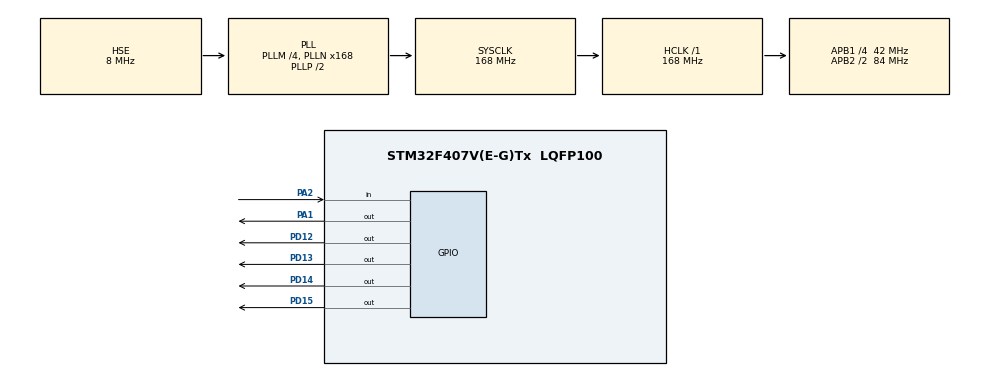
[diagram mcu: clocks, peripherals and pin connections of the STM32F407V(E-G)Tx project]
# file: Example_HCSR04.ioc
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Mcu.Family=STM32F4
Mcu.Name=STM32F407V(E-G)Tx
Mcu.Package=LQFP100
NVIC.PriorityGroup=NVIC_PRIORITYGROUP_0
PA1.Signal=GPIO_Output
PA2.Signal=GPIO_Input
PD12.Signal=GPIO_Output
PD13.Signal=GPIO_Output
PD14.Signal=GPIO_Output
PD15.Signal=GPIO_Output
PH0-OSC_IN.Mode=HSE-External-Oscillator
PH0-OSC_IN.Signal=RCC_OSC_IN
PH1-OSC_OUT.Mode=HSE-External-Oscillator
PH1-OSC_OUT.Signal=RCC_OSC_OUT
ProjectManager.HeapSize=0x200
ProjectManager.StackSize=0x400
ProjectManager.TargetToolchain=STM32CubeIDE
RCC.48MHZClocksFreq_Value=48000000
RCC.AHBFreq_Value=168000000
RCC.APB1CLKDivider=RCC_HCLK_DIV4
RCC.APB1Freq_Value=42000000
RCC.APB1TimFreq_Value=84000000
RCC.APB2CLKDivider=RCC_HCLK_DIV2
RCC.APB2Freq_Value=84000000
RCC.APB2TimFreq_Value=168000000
RCC.CortexFreq_Value=168000000
RCC.HCLKFreq_Value=168000000
RCC.HSE_VALUE=8000000
RCC.HSI_VALUE=16000000
RCC.LSE_VALUE=32768
RCC.PLLM=4
RCC.PLLN=168
RCC.PLLQ=7
RCC.PLLSourceVirtual=RCC_PLLSOURCE_HSE
RCC.SYSCLKFreq_VALUE=168000000
RCC.SYSCLKSource=RCC_SYSCLKSOURCE_PLLCLK
RCC.VCOOutputFreq_Value=336000000
board=STM32F407G-DISC1

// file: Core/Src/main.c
/* USER CODE BEGIN Header */
/**
  ******************************************************************************
  * @file           : main.c
  * @brief          : Main program body
  ******************************************************************************
  * @attention
  *
  * Copyright (c) 2022 STMicroelectronics.
  * All rights reserved.
  *
  * This software is licensed under terms that can be found in the LICENSE file
  * in the root directory of this software component.
  * If no LICENSE file comes with this software, it is provided AS-IS.
  *
  ******************************************************************************
  */
/* USER CODE END Header */
#include "main.h"

/* USER CODE BEGIN Includes */

#include "dwt_stm32_delay.h"

/* USER CODE END Includes */

/* USER CODE BEGIN PV */

uint16_t distance;
uint32_t time;

/* USER CODE END PV */

void SystemClock_Config(void);
static void MX_GPIO_Init(void);

/* USER CODE BEGIN 0 */

uint32_t Read_HCSR04()
{
	uint32_t local_time = 0;

	HAL_GPIO_WritePin(GPIOA, GPIO_PIN_1, GPIO_PIN_SET);
	DWT_Delay_us(10);
	HAL_GPIO_WritePin( GPIOA, GPIO_PIN_1, GPIO_PIN_RESET);

	while(!HAL_GPIO_ReadPin(GPIOA, GPIO_PIN_2));

	while(HAL_GPIO_ReadPin( GPIOA, GPIO_PIN_2))
	{
		local_time++;
		DWT_Delay_us(1);
	}

	return local_time;

}

/* USER CODE END 0 */

int main(void)
{

  /* MCU Configuration--------------------------------------------------------*/

  /* Reset of all peripherals, Initializes the Flash interface and the Systick. */
  HAL_Init();

  /* USER CODE BEGIN Init */

  DWT_Delay_Init();

  /* USER CODE END Init */

  /* Configure the system clock */
  SystemClock_Config();

  /* Initialize all configured peripherals */
  MX_GPIO_Init();

  /* Infinite loop */
  while (1)
  {

    /* USER CODE BEGIN 3 */

	  time = Read_HCSR04();

	  distance = time /58;

	  if(distance>=6 && distance <12)
	  {
		  HAL_GPIO_WritePin(GPIOD, GPIO_PIN_12, GPIO_PIN_SET);
		  HAL_GPIO_WritePin(GPIOD, GPIO_PIN_13 | GPIO_PIN_14 | GPIO_PIN_15, GPIO_PIN_RESET);
	  }

	  else if(distance>=12 && distance <18)
	 {
	 		  HAL_GPIO_WritePin(GPIOD, GPIO_PIN_12 | GPIO_PIN_13, GPIO_PIN_SET);
	 		  HAL_GPIO_WritePin(GPIOD, GPIO_PIN_14 | GPIO_PIN_15, GPIO_PIN_RESET);
	 }

	  else if(distance>=18 && distance <24)
	 {
	 		  HAL_GPIO_WritePin(GPIOD, GPIO_PIN_12 | GPIO_PIN_13 | GPIO_PIN_14, GPIO_PIN_SET);
	 		  HAL_GPIO_WritePin(GPIOD, GPIO_PIN_15, GPIO_PIN_RESET);
	 }

	  else if(distance>=24)
	 {
	 		  HAL_GPIO_WritePin(GPIOD, GPIO_PIN_12 | GPIO_PIN_13 | GPIO_PIN_14 | GPIO_PIN_15, GPIO_PIN_SET);
	 }

	  else
	  {
 		  HAL_GPIO_WritePin(GPIOD, GPIO_PIN_12 | GPIO_PIN_13 | GPIO_PIN_14 | GPIO_PIN_15, GPIO_PIN_RESET);

	  }

  }
  /* USER CODE END 3 */
}

void SystemClock_Config(void)
{
  RCC_OscInitTypeDef RCC_OscInitStruct = {0};
  RCC_ClkInitTypeDef RCC_ClkInitStruct = {0};

  /** Configure the main internal regulator output voltage
  */
  __HAL_RCC_PWR_CLK_ENABLE();
  __HAL_PWR_VOLTAGESCALING_CONFIG(PWR_REGULATOR_VOLTAGE_SCALE1);

  /** Initializes the RCC Oscillators according to the specified parameters
  * in the RCC_OscInitTypeDef structure.
  */
  RCC_OscInitStruct.OscillatorType = RCC_OSCILLATORTYPE_HSE;
  RCC_OscInitStruct.HSEState = RCC_HSE_ON;
  RCC_OscInitStruct.PLL.PLLState = RCC_PLL_ON;
  RCC_OscInitStruct.PLL.PLLSource = RCC_PLLSOURCE_HSE;
  RCC_OscInitStruct.PLL.PLLM = 4;
  RCC_OscInitStruct.PLL.PLLN = 168;
  RCC_OscInitStruct.PLL.PLLP = RCC_PLLP_DIV2;
  RCC_OscInitStruct.PLL.PLLQ = 7;
  if (HAL_RCC_OscConfig(&RCC_OscInitStruct) != HAL_OK)
  {
    Error_Handler();
  }

  /** Initializes the CPU, AHB and APB buses clocks
  */
  RCC_ClkInitStruct.ClockType = RCC_CLOCKTYPE_HCLK|RCC_CLOCKTYPE_SYSCLK
                              |RCC_CLOCKTYPE_PCLK1|RCC_CLOCKTYPE_PCLK2;
  RCC_ClkInitStruct.SYSCLKSource = RCC_SYSCLKSOURCE_PLLCLK;
  RCC_ClkInitStruct.AHBCLKDivider = RCC_SYSCLK_DIV1;
  RCC_ClkInitStruct.APB1CLKDivider = RCC_HCLK_DIV4;
  RCC_ClkInitStruct.APB2CLKDivider = RCC_HCLK_DIV2;

  if (HAL_RCC_ClockConfig(&RCC_ClkInitStruct, FLASH_LATENCY_5) != HAL_OK)
  {
    Error_Handler();
  }
}

static void MX_GPIO_Init(void)
{
  GPIO_InitTypeDef GPIO_InitStruct = {0};

  /* GPIO Ports Clock Enable */
  __HAL_RCC_GPIOH_CLK_ENABLE();
  __HAL_RCC_GPIOA_CLK_ENABLE();
  __HAL_RCC_GPIOD_CLK_ENABLE();

  /*Configure GPIO pin Output Level */
  HAL_GPIO_WritePin(GPIOA, GPIO_PIN_1, GPIO_PIN_RESET);

  /*Configure GPIO pin Output Level */
  HAL_GPIO_WritePin(GPIOD, GPIO_PIN_12|GPIO_PIN_13|GPIO_PIN_14|GPIO_PIN_15, GPIO_PIN_RESET);

  /*Configure GPIO pin : PA1 */
  GPIO_InitStruct.Pin = GPIO_PIN_1;
  GPIO_InitStruct.Mode = GPIO_MODE_OUTPUT_PP;
  GPIO_InitStruct.Pull = GPIO_NOPULL;
  GPIO_InitStruct.Speed = GPIO_SPEED_FREQ_LOW;
  HAL_GPIO_Init(GPIOA, &GPIO_InitStruct);

  /*Configure GPIO pin : PA2 */
  GPIO_InitStruct.Pin = GPIO_PIN_2;
  GPIO_InitStruct.Mode = GPIO_MODE_INPUT;
  GPIO_InitStruct.Pull = GPIO_NOPULL;
  HAL_GPIO_Init(GPIOA, &GPIO_InitStruct);

  /*Configure GPIO pins : PD12 PD13 PD14 PD15 */
  GPIO_InitStruct.Pin = GPIO_PIN_12|GPIO_PIN_13|GPIO_PIN_14|GPIO_PIN_15;
  GPIO_InitStruct.Mode = GPIO_MODE_OUTPUT_PP;
  GPIO_InitStruct.Pull = GPIO_NOPULL;
  GPIO_InitStruct.Speed = GPIO_SPEED_FREQ_LOW;
  HAL_GPIO_Init(GPIOD, &GPIO_InitStruct);

}

void Error_Handler(void)
{
  __disable_irq();
  while (1)
  {
  }
}
